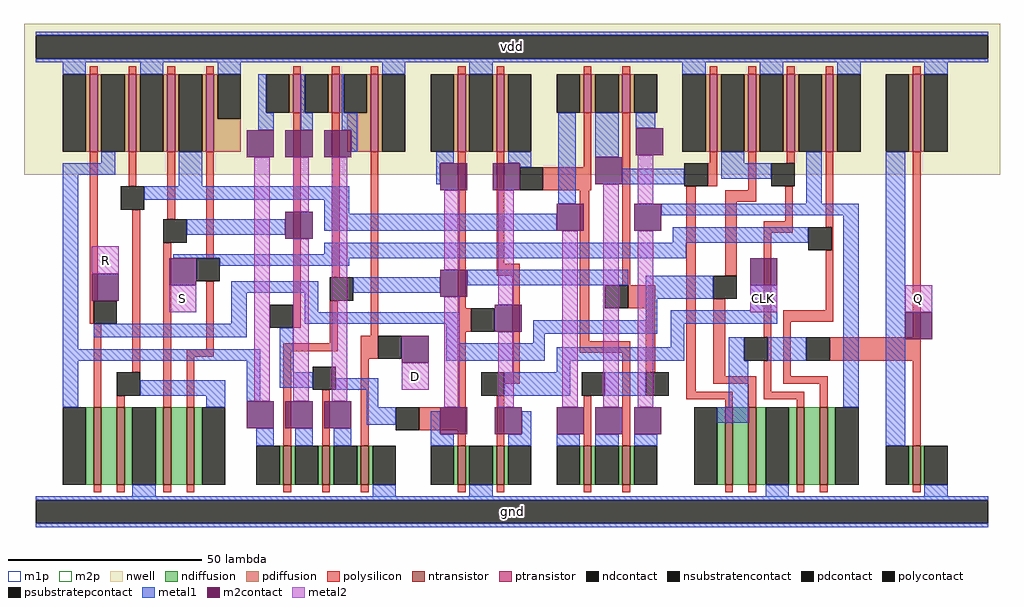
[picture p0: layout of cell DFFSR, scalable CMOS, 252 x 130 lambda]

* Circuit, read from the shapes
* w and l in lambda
.subckt DFFSR R S D CLK Q vdd gnd
M1 n1 R n2 gnd nfet w=20 l=2
M2 gnd n3 n1 gnd nfet w=20 l=2
M3 n4 n5 gnd gnd nfet w=20 l=2
M4 n3 S n4 gnd nfet w=20 l=2
M5 n5 n6 n2 gnd nfet w=10 l=2
M6 n7 n8 n5 gnd nfet w=10 l=2
M7 gnd D n7 gnd nfet w=10 l=2
M8 gnd n8 n6 gnd nfet w=10 l=2
M9 n8 CLK gnd gnd nfet w=10 l=2
M10 n9 n6 n3 gnd nfet w=10 l=2
M11 n10 n8 n9 gnd nfet w=10 l=2
M12 n11 n9 n12 gnd nfet w=20 l=2
M13 gnd R n11 gnd nfet w=20 l=2
M14 n13 n12 gnd gnd nfet w=20 l=2
M15 n10 S n13 gnd nfet w=20 l=2
M16 gnd n12 Q gnd nfet w=10 l=2
M17 n2 R vdd vdd pfet w=20 l=2
M18 vdd n3 n2 vdd pfet w=20 l=2
M19 n3 n5 vdd vdd pfet w=20 l=2
M20 vdd S n3 vdd pfet w=20 l=2
M21 n5 n8 n2 vdd pfet w=10 l=2
M22 n7 n6 n5 vdd pfet w=10 l=2
M23 vdd D n7 vdd pfet w=20 l=2
M24 vdd n8 n6 vdd pfet w=20 l=2
M25 n8 CLK vdd vdd pfet w=20 l=2
M26 n9 n8 n3 vdd pfet w=10 l=2
M27 n10 n6 n9 vdd pfet w=10 l=2
M28 n12 n9 vdd vdd pfet w=20 l=2
M29 vdd R n12 vdd pfet w=20 l=2
M30 n10 n12 vdd vdd pfet w=20 l=2
M31 vdd S n10 vdd pfet w=20 l=2
M32 vdd n12 Q vdd pfet w=20 l=2
.ends

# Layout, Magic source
magic
tech scmos
magscale 1 2
<< nwell >>
rect -12 174 492 252
<< ntransistor >>
rect 24 14 28 54
rect 36 14 40 54
rect 60 14 64 54
rect 72 14 76 54
rect 122 14 126 34
rect 142 14 146 34
rect 162 14 166 34
rect 212 14 216 34
rect 232 14 236 34
rect 277 14 281 34
rect 297 14 301 34
rect 350 14 354 54
rect 362 14 366 54
rect 387 14 391 54
rect 399 14 403 54
rect 447 14 451 34
<< ptransistor >>
rect 22 186 26 226
rect 42 186 46 226
rect 62 186 66 226
rect 82 186 86 226
rect 127 206 131 226
rect 147 206 151 226
rect 167 186 171 226
rect 212 186 216 226
rect 232 186 236 226
rect 277 206 281 226
rect 297 206 301 226
rect 342 186 346 226
rect 362 186 366 226
rect 382 186 386 226
rect 402 186 406 226
rect 447 186 451 226
<< ndiffusion >>
rect 20 14 24 54
rect 28 14 36 54
rect 40 14 44 54
rect 56 14 60 54
rect 64 14 72 54
rect 76 14 80 54
rect 120 14 122 34
rect 126 14 128 34
rect 140 14 142 34
rect 146 14 148 34
rect 160 14 162 34
rect 166 14 168 34
rect 210 14 212 34
rect 216 14 218 34
rect 230 14 232 34
rect 236 14 238 34
rect 275 14 277 34
rect 281 14 283 34
rect 295 14 297 34
rect 301 14 303 34
rect 346 14 350 54
rect 354 14 362 54
rect 366 14 371 54
rect 383 14 387 54
rect 391 14 399 54
rect 403 14 407 54
rect 445 14 447 34
rect 451 14 453 34
<< pdiffusion >>
rect 20 186 22 226
rect 26 186 28 226
rect 40 186 42 226
rect 46 186 48 226
rect 60 186 62 226
rect 66 186 68 226
rect 80 186 82 226
rect 86 203 88 226
rect 125 206 127 226
rect 131 206 133 226
rect 145 206 147 226
rect 151 206 153 226
rect 165 206 167 226
rect 86 186 100 203
rect 155 186 167 206
rect 171 186 173 226
rect 210 186 212 226
rect 216 186 218 226
rect 230 186 232 226
rect 236 186 238 226
rect 275 206 277 226
rect 281 206 283 226
rect 295 206 297 226
rect 301 206 303 226
rect 340 186 342 226
rect 346 186 348 226
rect 360 186 362 226
rect 366 186 368 226
rect 380 186 382 226
rect 386 186 388 226
rect 400 186 402 226
rect 406 186 408 226
rect 445 186 447 226
rect 451 186 453 226
<< ndcontact >>
rect 8 14 20 54
rect 44 14 56 54
rect 80 14 92 54
rect 108 14 120 34
rect 128 14 140 34
rect 148 14 160 34
rect 168 14 180 34
rect 198 14 210 34
rect 218 14 230 34
rect 238 14 250 34
rect 263 14 275 34
rect 283 14 295 34
rect 303 14 315 34
rect 334 14 346 54
rect 371 14 383 54
rect 407 14 419 54
rect 433 14 445 34
rect 453 14 465 34
<< pdcontact >>
rect 8 186 20 226
rect 28 186 40 226
rect 48 186 60 226
rect 68 186 80 226
rect 88 203 100 226
rect 113 206 125 226
rect 133 206 145 226
rect 153 206 165 226
rect 173 186 185 226
rect 198 186 210 226
rect 218 186 230 226
rect 238 186 250 226
rect 263 206 275 226
rect 283 206 295 226
rect 303 206 315 226
rect 328 186 340 226
rect 348 186 360 226
rect 368 186 380 226
rect 388 186 400 226
rect 408 186 420 226
rect 433 186 445 226
rect 453 186 465 226
<< psubstratepcontact >>
rect -6 -6 486 6
<< nsubstratencontact >>
rect -6 234 486 246
<< polysilicon >>
rect 22 226 26 230
rect 42 226 46 230
rect 62 226 66 230
rect 82 226 86 230
rect 127 226 131 230
rect 147 226 151 230
rect 167 226 171 230
rect 212 226 216 230
rect 232 226 236 230
rect 277 226 281 230
rect 297 226 301 230
rect 342 226 346 230
rect 362 226 366 230
rect 382 226 386 230
rect 402 226 406 230
rect 447 226 451 230
rect 22 109 26 186
rect 42 168 46 186
rect 22 97 24 109
rect 24 54 28 97
rect 44 72 48 156
rect 62 151 66 186
rect 36 54 40 60
rect 60 54 64 139
rect 82 131 86 186
rect 82 84 86 119
rect 127 95 131 206
rect 147 121 151 206
rect 146 87 150 109
rect 167 91 171 186
rect 212 105 216 186
rect 232 128 236 186
rect 277 178 281 206
rect 256 166 281 178
rect 232 122 244 128
rect 212 93 219 105
rect 72 80 86 84
rect 122 83 150 87
rect 72 54 76 80
rect 122 34 126 83
rect 162 79 171 91
rect 142 34 146 63
rect 162 34 166 79
rect 212 54 216 93
rect 240 72 244 122
rect 275 88 280 166
rect 297 117 301 206
rect 342 180 346 186
rect 341 168 346 180
rect 300 105 314 117
rect 275 82 301 88
rect 236 66 244 72
rect 192 42 216 54
rect 212 34 216 42
rect 232 34 236 60
rect 277 34 281 60
rect 297 34 301 82
rect 309 72 314 105
rect 330 62 335 168
rect 362 166 366 186
rect 382 180 386 186
rect 350 160 366 166
rect 350 122 356 160
rect 381 150 385 168
rect 370 144 385 150
rect 402 147 406 186
rect 344 70 350 110
rect 370 90 374 144
rect 405 135 406 147
rect 402 104 406 135
rect 372 78 374 90
rect 344 66 366 70
rect 330 58 354 62
rect 350 54 354 58
rect 362 54 366 66
rect 370 62 374 78
rect 380 98 406 104
rect 380 70 384 98
rect 447 90 451 186
rect 404 78 451 90
rect 380 66 403 70
rect 370 58 391 62
rect 387 54 391 58
rect 399 54 403 66
rect 447 34 451 78
rect 24 10 28 14
rect 36 10 40 14
rect 60 10 64 14
rect 72 10 76 14
rect 122 10 126 14
rect 142 10 146 14
rect 162 10 166 14
rect 212 10 216 14
rect 232 10 236 14
rect 277 10 281 14
rect 297 10 301 14
rect 350 10 354 14
rect 362 10 366 14
rect 387 10 391 14
rect 399 10 403 14
rect 447 10 451 14
<< polycontact >>
rect 38 156 50 168
rect 24 97 36 109
rect 36 60 48 72
rect 60 139 72 151
rect 77 119 89 131
rect 115 95 127 107
rect 146 109 158 121
rect 244 166 256 178
rect 219 93 231 105
rect 171 79 183 91
rect 137 63 149 75
rect 329 168 341 180
rect 288 105 300 117
rect 224 60 236 72
rect 276 60 288 72
rect 180 42 192 54
rect 309 60 321 72
rect 374 168 386 180
rect 344 110 356 122
rect 393 135 405 147
rect 360 78 372 90
rect 392 78 404 90
<< metal1 >>
rect -6 246 486 248
rect -6 232 486 234
rect 8 226 20 232
rect 48 226 60 232
rect 88 226 100 232
rect 173 226 185 232
rect 218 226 230 232
rect 328 226 340 232
rect 368 226 380 232
rect 408 226 420 232
rect 453 226 465 232
rect 109 206 113 226
rect 131 206 133 226
rect 152 206 153 226
rect 109 197 117 206
rect 131 197 137 206
rect 152 197 160 206
rect 28 180 35 186
rect 8 174 35 180
rect 8 84 16 174
rect 68 168 80 186
rect 157 186 160 197
rect 201 180 210 186
rect 238 180 250 186
rect 201 169 203 180
rect 50 161 156 168
rect 244 178 250 180
rect 72 143 123 151
rect 143 154 156 161
rect 264 159 273 206
rect 283 183 295 206
rect 304 198 314 206
rect 348 180 360 186
rect 297 169 329 177
rect 348 172 374 180
rect 392 159 400 186
rect 143 145 263 154
rect 317 153 419 159
rect 323 139 393 147
rect 143 133 330 139
rect 65 131 330 133
rect 89 127 156 131
rect 95 113 140 119
rect 95 97 103 113
rect 24 90 103 97
rect 133 103 140 113
rect 158 113 203 121
rect 217 117 300 125
rect 133 97 213 103
rect 8 78 110 84
rect 8 54 16 78
rect 48 60 92 68
rect 82 54 92 60
rect 103 57 110 78
rect 120 72 127 95
rect 206 87 213 97
rect 309 110 344 122
rect 309 99 315 110
rect 363 104 377 117
rect 251 92 315 99
rect 322 97 377 104
rect 251 87 257 92
rect 206 78 257 87
rect 322 85 329 97
rect 263 78 329 85
rect 352 78 360 90
rect 372 78 392 90
rect 120 64 137 72
rect 263 72 270 78
rect 149 63 171 69
rect 165 54 171 63
rect 236 60 270 72
rect 288 60 309 72
rect 352 54 362 78
rect 411 54 419 153
rect 165 45 180 54
rect 108 34 117 43
rect 128 34 137 43
rect 148 34 157 43
rect 198 40 203 52
rect 245 40 250 52
rect 198 34 210 40
rect 238 34 250 40
rect 263 34 275 40
rect 283 34 295 40
rect 303 34 315 40
rect 346 46 362 54
rect 433 34 443 186
rect 44 8 56 14
rect 168 8 180 14
rect 218 8 230 14
rect 371 8 383 14
rect 453 8 465 14
rect -6 6 486 8
rect -6 -8 486 -6
<< m2contact >>
rect 103 183 117 197
rect 123 183 137 197
rect 143 183 157 197
rect 203 166 217 180
rect 230 166 244 180
rect 123 141 137 155
rect 304 184 318 198
rect 283 169 297 183
rect 263 145 277 159
rect 303 145 317 159
rect 23 109 37 123
rect 63 117 77 131
rect 203 111 217 125
rect 183 77 197 91
rect 231 93 245 107
rect 363 117 377 131
rect 103 43 117 57
rect 123 43 137 57
rect 143 43 157 57
rect 203 40 217 54
rect 231 40 245 54
rect 263 40 277 54
rect 283 40 297 54
rect 303 40 317 54
rect 443 89 457 103
<< metal2 >>
rect 23 123 37 137
rect 63 103 77 117
rect 107 57 115 183
rect 127 155 135 183
rect 127 57 135 141
rect 147 57 155 183
rect 205 125 213 166
rect 183 63 197 77
rect 205 54 213 111
rect 233 107 241 166
rect 233 54 241 93
rect 266 54 274 145
rect 287 54 295 169
rect 305 159 313 184
rect 305 54 313 145
rect 363 103 377 117
rect 443 103 457 117
<< m1p >>
rect -6 232 486 248
rect -6 -8 486 8
<< m2p >>
rect 23 123 37 137
rect 63 103 77 117
rect 363 103 377 117
rect 443 103 457 117
rect 183 63 197 77
<< labels >>
rlabel metal1 -6 -8 486 8 0 gnd
port 6 nsew ground bidirectional abutment
rlabel metal1 -6 232 486 248 0 vdd
port 5 nsew power bidirectional abutment
rlabel metal2 63 103 77 117 0 S
port 1 nsew signal input
rlabel metal2 183 63 197 77 0 D
port 2 nsew signal input
rlabel metal2 363 103 377 117 0 CLK
port 3 nsew signal input
rlabel metal2 23 123 37 137 0 R
port 0 nsew signal input
rlabel metal2 443 103 457 117 0 Q
port 4 nsew signal output
<< properties >>
string FIXED_BBOX 0 0 480 240
string LEFclass CORE
string LEFsite core
string LEFsymmetry X Y
<< end >>
